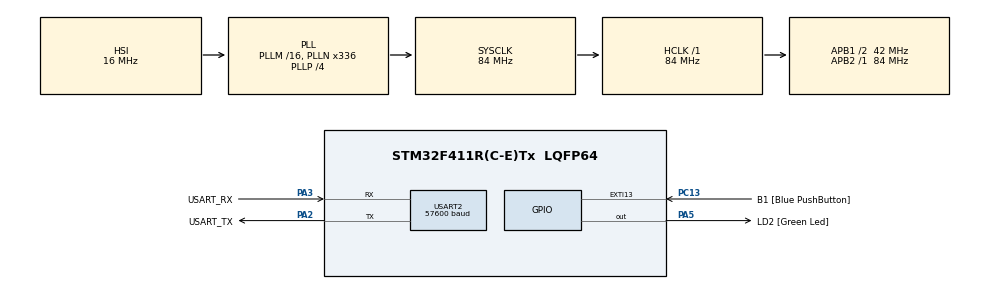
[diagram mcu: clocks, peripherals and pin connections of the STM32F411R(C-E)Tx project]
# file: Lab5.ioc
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Mcu.Family=STM32F4
Mcu.Name=STM32F411R(C-E)Tx
Mcu.Package=LQFP64
NVIC.PriorityGroup=NVIC_PRIORITYGROUP_0
NVIC.USART2_IRQn=true\:0\:0\:false\:false\:true\:true\:true\:true
PA13.GPIO_Label=TMS
PA13.Mode=Serial_Wire
PA13.Signal=SYS_JTMS-SWDIO
PA14.GPIO_Label=TCK
PA14.Mode=Serial_Wire
PA14.Signal=SYS_JTCK-SWCLK
PA2.GPIO_Label=USART_TX
PA2.Mode=Asynchronous
PA2.Signal=USART2_TX
PA3.GPIO_Label=USART_RX
PA3.Mode=Asynchronous
PA3.Signal=USART2_RX
PA5.GPIO_Label=LD2 [Green Led]
PA5.Signal=GPIO_Output
PB3.GPIO_Label=SWO
PB3.Signal=SYS_JTDO-SWO
PC13-ANTI_TAMP.GPIO_Label=B1 [Blue PushButton]
PC13-ANTI_TAMP.GPIO_ModeDefaultEXTI=GPIO_MODE_IT_FALLING
PC13-ANTI_TAMP.Signal=GPXTI13
PC14-OSC32_IN.Mode=LSE-External-Oscillator
PC14-OSC32_IN.Signal=RCC_OSC32_IN
PC15-OSC32_OUT.Mode=LSE-External-Oscillator
PC15-OSC32_OUT.Signal=RCC_OSC32_OUT
PH0\ -\ OSC_IN.Mode=HSE-External-Clock-Source
PH0\ -\ OSC_IN.Signal=RCC_OSC_IN
PH1\ -\ OSC_OUT.Mode=HSE-External-Clock-Source
PH1\ -\ OSC_OUT.Signal=RCC_OSC_OUT
ProjectManager.HeapSize=0x200
ProjectManager.StackSize=0x400
ProjectManager.TargetToolchain=STM32CubeIDE
RCC.48MHZClocksFreq_Value=84000000
RCC.AHBFreq_Value=84000000
RCC.APB1CLKDivider=RCC_HCLK_DIV2
RCC.APB1Freq_Value=42000000
RCC.APB1TimFreq_Value=84000000
RCC.APB2Freq_Value=84000000
RCC.APB2TimFreq_Value=84000000
RCC.CortexFreq_Value=84000000
RCC.FLatency-AdvancedSettings=FLASH_LATENCY_2
RCC.HCLKFreq_Value=84000000
RCC.HSE_VALUE=8000000
RCC.HSI_VALUE=16000000
RCC.PLLN=336
RCC.PLLP=RCC_PLLP_DIV4
RCC.SYSCLKFreq_VALUE=84000000
RCC.SYSCLKSource=RCC_SYSCLKSOURCE_PLLCLK
RCC.VCOOutputFreq_Value=336000000
USART2.BaudRate=57600
USART2.VirtualMode=VM_ASYNC
board=NUCLEO-F411RE

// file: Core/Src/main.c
/* USER CODE BEGIN Header */
/**
  ******************************************************************************
  * @file           : main.c
  * @brief          : Main program body
  ******************************************************************************
  * @attention
  *
  * Copyright (c) 2023 STMicroelectronics.
  * All rights reserved.
  *
  * This software is licensed under terms that can be found in the LICENSE file
  * in the root directory of this software component.
  * If no LICENSE file comes with this software, it is provided AS-IS.
  *
  ******************************************************************************
  */
/* USER CODE END Header */
#include "main.h"

/* USER CODE BEGIN Includes */
#include "stdio.h"
#include "string.h"
/* USER CODE END Includes */

UART_HandleTypeDef huart2;

/* USER CODE BEGIN PV */
uint8_t RxBuffer[1];
uint8_t TxBuffer[40];

uint8_t Start_Menu [500] =

		"	( >_______________________________< )           \r\n"
		"	Welcome to start menu of this program			\r\n"
		" You can only select one choice from the menu have   \r\n"
		" Quickly to Select command to go to next menu		\r\n"
		"___________________________________________________________\r\n"
		"			0 = LED CONTROL							\r\n"
		"			1 = BUTTON STATUS						\r\n";
uint8_t LED_Menu[700] =
			"===================================================== \r\n"
			"               Welcome to LED CONTROL	               \r\n"
			" You can only select one choice from the menu have    \r\n"
			"             Press the Character of choice            \r\n"
			"===================================================== \r\n"
			"                a : Speed Up   +1 Hz                  \r\n"
			"                s : Speed Down -1 Hz                  \r\n"
			"                d : On / Off LED                      \r\n"
			"                x : Previous menus                    \r\n"
			"===================================================== \r\n";

uint8_t BUTTON_Menu[300] =
			"===================================================== \r\n"
			"              Welcome to BUTTON STATUS                \r\n"
			"       This Menu will show button status B1           \r\n"
			"         Press 'x' to get to previous menu            \r\n"
			"===================================================== \r\n";
//set
int8_t Hz = 0;
int8_t Past_Hz = 0;
uint8_t mHz = 0;

uint8_t State = 0;
uint8_t Status_LED = 0;
uint8_t LED_On [10] = "LedOn\r\n";
uint8_t LED_Off [15] = "LedOff\r\n";

uint8_t Error[20] = "Error Option\r\n";

uint8_t Button = 0;
uint8_t PastButton = 0;

uint8_t Press[20] = "ButtonPressed\r\n";
uint8_t UnPress[20] = "ButtonUnpressed\r\n";
uint8_t OnePress = 0;

uint16_t box[30];

/* USER CODE END PV */

void SystemClock_Config(void);
static void MX_GPIO_Init(void);
static void MX_USART2_UART_Init(void);
/* USER CODE BEGIN PFP */

void UARTInterruptConfig();

/* USER CODE END PFP */

int main(void)
{

  /* MCU Configuration--------------------------------------------------------*/

  /* Reset of all peripherals, Initializes the Flash interface and the Systick. */
  HAL_Init();

  /* Configure the system clock */
  SystemClock_Config();

  /* Initialize all configured peripherals */
  MX_GPIO_Init();
  MX_USART2_UART_Init();
  /* USER CODE BEGIN 2 */

  UARTInterruptConfig();

  /* USER CODE END 2 */

  /* Infinite loop */
  while (1)
  {

    /* USER CODE BEGIN 3 */
	  static uint32_t timestamp = 0;
	  if (HAL_GetTick() > timestamp)
	  {

			if (Hz > 0)
			{
				mHz = 500 / Hz;
			}
			else
			{
				mHz = 0;
			}
			timestamp = HAL_GetTick() + mHz;

			if(Status_LED == 0 || Hz == 0)
			{
				HAL_GPIO_WritePin(LD2_GPIO_Port, LD2_Pin, RESET);
			}
			else
			{
				HAL_GPIO_TogglePin(LD2_GPIO_Port, LD2_Pin);
			}
		}

	  // create State
	  switch (State){

	  case 0: // First Menu
		  HAL_Delay(5); // delay = 5 ms.
		  HAL_UART_Transmit_IT(&huart2, Start_Menu, strlen((char*) Start_Menu));

		  State = 1;
		  break;

	  case 1: // Press 1 or 0
	  	  if (RxBuffer[0] == '0') // Press and go to LED Control
	  	  {
	  		  RxBuffer[0] = 0;

	  		  State = 2;
	  	  }

	  	  else if (RxBuffer[0] == '1')  // Press and go to Button Status
	  	  {
	  		  RxBuffer[0] = 0;

	  		  State = 4;
	  	  }
	  	  break;

	  case 2: // Second Menu
		  HAL_Delay(5); // delay = 5 ms.
		  HAL_UART_Transmit_IT(&huart2, LED_Menu, strlen((char*) LED_Menu));

		  State = 3;
		  break;

	  case 3: // Press a, s, d, x
		  if (RxBuffer[0] == 'a')
		  {
			  Hz += 1 ;
			  Past_Hz += 1;
			  sprintf((char*)box,"Hz = %d\r\n",Hz);
			  HAL_UART_Transmit_IT(&huart2,box, strlen((char*)box));
			  State = 3;
			  RxBuffer[0] = 0;

		  }

		  else if (RxBuffer[0] == 's')
		  {
			  Hz -= 1;

			  if (Hz <= 0)
			  {
				  Hz = 0;
			  }

			  Past_Hz -= 1;

			  if (Past_Hz <= 0)
			  {
				  Past_Hz = 0;
			  }
			  sprintf((char*)box,"Hz = %d\r\n",Hz);
			  HAL_UART_Transmit_IT(&huart2,box, strlen((char*)box));
			  State = 3;
			  RxBuffer[0] = 0;

		  }

		  else if (RxBuffer[0] == 'd')
		  {
			 if(Status_LED)
			 {
				Status_LED = 0;
				RxBuffer[0] = 0;

				Hz = 0;
				HAL_UART_Transmit_IT(&huart2, LED_Off, strlen((char*) LED_Off));
				HAL_GPIO_WritePin(LD2_GPIO_Port, LD2_Pin, SET);
			 }
			else
			{
				Status_LED = 1;
				RxBuffer[0] = 0;

				Hz = Past_Hz;
				HAL_UART_Transmit_IT(&huart2, LED_On, strlen((char*) LED_On));
			}
		  }

		  else if (RxBuffer[0] == 'x') // back
		  {
			  RxBuffer[0] = 0;
			  State = 0;
		  }
		  break;

	  case 4:
		  HAL_Delay(5);
		  HAL_UART_Transmit_IT(&huart2, BUTTON_Menu, strlen((char*) BUTTON_Menu));
		  State = 5;
		  break;

	  case 5:
		  Button = HAL_GPIO_ReadPin(GPIOC, GPIO_PIN_13);
		  if (Button == 1 && PastButton == 0)
		  {
			  HAL_UART_Transmit_IT(&huart2, UnPress, strlen((char*) UnPress));
			  OnePress = 0;
		  }
		  else if (Button == 0 && PastButton == 0)
		  {
			  if (!OnePress)
			  {
				  HAL_UART_Transmit_IT(&huart2, Press, strlen((char*) Press));
				  OnePress = 1;
			  }
		  }
		  else if (RxBuffer[0] == 'x')
		  {
			  RxBuffer[0] = 0;
			  State = 0;
		  }

		  PastButton = Button;
		  break;
	  }

  }
  /* USER CODE END 3 */
}

void SystemClock_Config(void)
{
  RCC_OscInitTypeDef RCC_OscInitStruct = {0};
  RCC_ClkInitTypeDef RCC_ClkInitStruct = {0};

  /** Configure the main internal regulator output voltage
  */
  __HAL_RCC_PWR_CLK_ENABLE();
  __HAL_PWR_VOLTAGESCALING_CONFIG(PWR_REGULATOR_VOLTAGE_SCALE1);

  /** Initializes the RCC Oscillators according to the specified parameters
  * in the RCC_OscInitTypeDef structure.
  */
  RCC_OscInitStruct.OscillatorType = RCC_OSCILLATORTYPE_HSI;
  RCC_OscInitStruct.HSIState = RCC_HSI_ON;
  RCC_OscInitStruct.HSICalibrationValue = RCC_HSICALIBRATION_DEFAULT;
  RCC_OscInitStruct.PLL.PLLState = RCC_PLL_ON;
  RCC_OscInitStruct.PLL.PLLSource = RCC_PLLSOURCE_HSI;
  RCC_OscInitStruct.PLL.PLLM = 16;
  RCC_OscInitStruct.PLL.PLLN = 336;
  RCC_OscInitStruct.PLL.PLLP = RCC_PLLP_DIV4;
  RCC_OscInitStruct.PLL.PLLQ = 4;
  if (HAL_RCC_OscConfig(&RCC_OscInitStruct) != HAL_OK)
  {
    Error_Handler();
  }

  /** Initializes the CPU, AHB and APB buses clocks
  */
  RCC_ClkInitStruct.ClockType = RCC_CLOCKTYPE_HCLK|RCC_CLOCKTYPE_SYSCLK
                              |RCC_CLOCKTYPE_PCLK1|RCC_CLOCKTYPE_PCLK2;
  RCC_ClkInitStruct.SYSCLKSource = RCC_SYSCLKSOURCE_PLLCLK;
  RCC_ClkInitStruct.AHBCLKDivider = RCC_SYSCLK_DIV1;
  RCC_ClkInitStruct.APB1CLKDivider = RCC_HCLK_DIV2;
  RCC_ClkInitStruct.APB2CLKDivider = RCC_HCLK_DIV1;

  if (HAL_RCC_ClockConfig(&RCC_ClkInitStruct, FLASH_LATENCY_2) != HAL_OK)
  {
    Error_Handler();
  }
}

static void MX_USART2_UART_Init(void)
{

  huart2.Instance = USART2;
  huart2.Init.BaudRate = 57600;
  huart2.Init.WordLength = UART_WORDLENGTH_8B;
  huart2.Init.StopBits = UART_STOPBITS_1;
  huart2.Init.Parity = UART_PARITY_NONE;
  huart2.Init.Mode = UART_MODE_TX_RX;
  huart2.Init.HwFlowCtl = UART_HWCONTROL_NONE;
  huart2.Init.OverSampling = UART_OVERSAMPLING_16;
  if (HAL_UART_Init(&huart2) != HAL_OK)
  {
    Error_Handler();
  }

}

static void MX_GPIO_Init(void)
{
  GPIO_InitTypeDef GPIO_InitStruct = {0};

  /* GPIO Ports Clock Enable */
  __HAL_RCC_GPIOC_CLK_ENABLE();
  __HAL_RCC_GPIOH_CLK_ENABLE();
  __HAL_RCC_GPIOA_CLK_ENABLE();
  __HAL_RCC_GPIOB_CLK_ENABLE();

  /*Configure GPIO pin Output Level */
  HAL_GPIO_WritePin(LD2_GPIO_Port, LD2_Pin, GPIO_PIN_RESET);

  /*Configure GPIO pin : B1_Pin */
  GPIO_InitStruct.Pin = B1_Pin;
  GPIO_InitStruct.Mode = GPIO_MODE_IT_FALLING;
  GPIO_InitStruct.Pull = GPIO_NOPULL;
  HAL_GPIO_Init(B1_GPIO_Port, &GPIO_InitStruct);

  /*Configure GPIO pin : LD2_Pin */
  GPIO_InitStruct.Pin = LD2_Pin;
  GPIO_InitStruct.Mode = GPIO_MODE_OUTPUT_PP;
  GPIO_InitStruct.Pull = GPIO_NOPULL;
  GPIO_InitStruct.Speed = GPIO_SPEED_FREQ_LOW;
  HAL_GPIO_Init(LD2_GPIO_Port, &GPIO_InitStruct);

}

/* USER CODE BEGIN 4 */

void UARTInterruptConfig() {
	HAL_UART_Receive_IT(&huart2, RxBuffer, 1);
}

void HAL_UART_RxCpltCallback(UART_HandleTypeDef *huart)
{
	if (huart == &huart2)
	{

		//(for string only) Add string stop symbol \0 to end string
		RxBuffer[2] = '\0';

		//return received char
		sprintf((char*)TxBuffer, "Received : %s\r\n" ,RxBuffer);
		//HAL_UART_Transmit_IT(&huart2, TxBuffer, strlen((char*)TxBuffer));

		HAL_UART_Receive_IT(&huart2, RxBuffer, 1);

	}
}

/* USER CODE END 4 */

void Error_Handler(void)
{
  __disable_irq();
  while (1)
  {
  }
}
